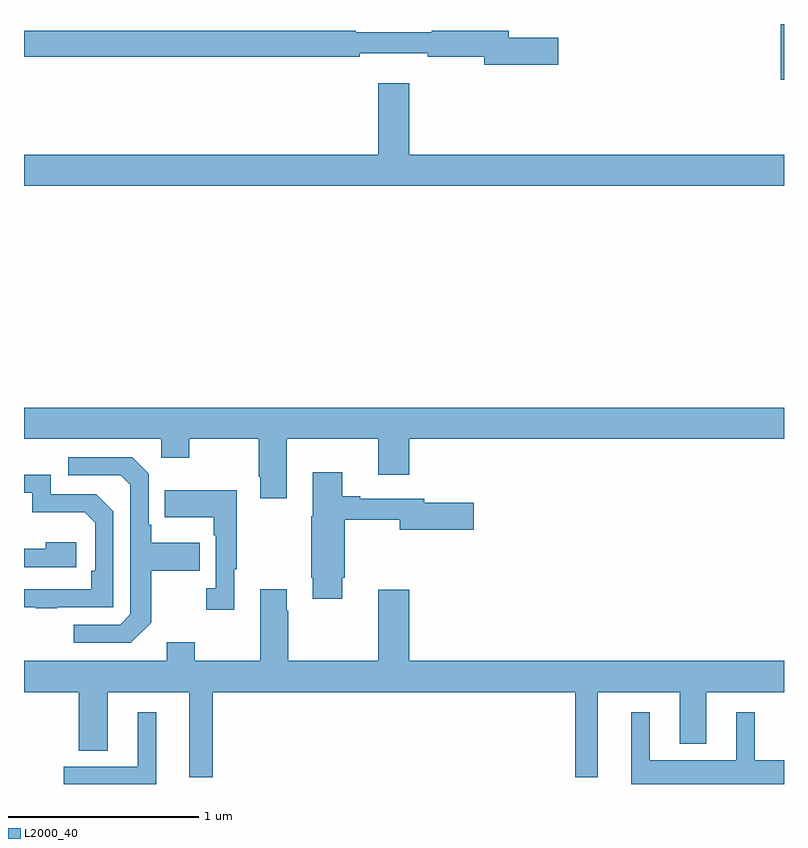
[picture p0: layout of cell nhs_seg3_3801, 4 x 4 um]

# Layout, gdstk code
import gdstk
lib = gdstk.Library(unit=1e-6, precision=1e-09)
def R(c, l, rs):  # rectangles x0, y0, x1, y1
    for r in rs: c.add(gdstk.rectangle(r[:2], r[2:], *l))
def P(c, l, *ps):  # polygons
    for p in ps: c.add(gdstk.Polygon(p, *l))
L2000_40 = (2000, 40)

nhs_seg3_3801 = lib.new_cell('nhs_seg3_3801')
R(nhs_seg3_3801, L2000_40, [(310.982,736.106,311,736.4)])
P(nhs_seg3_3801, L2000_40, [(309.811,736.328),(309.55,736.328),(309.55,736.364),(309.146,736.364),(309.146,736.357),(308.746,736.357),(308.746,736.364),(307,736.364),(307,736.228),(308.768,736.228),(308.768,736.247),(309.124,736.247),(309.124,736.228),(309.422,736.228),(309.422,736.186),(309.811,736.186)],
  [(311,735.712),(309.028,735.712),(309.028,736.087),(308.864,736.087),(308.864,735.712),(307,735.712),(307,735.548),(311,735.548)],
  [(308.383,734.216),(308.864,734.216),(308.864,734.028),(309.028,734.028),(309.028,734.216),(311,734.216),(311,734.38),(307,734.38),(307,734.216),(307.722,734.216),(307.722,734.117),(307.869,734.117),(307.869,734.216),(308.236,734.216),(308.236,734.017),(308.243,734.017),(308.243,733.905),(308.383,733.905)],
  [(307.669,733.249),(307.669,733.522),(307.925,733.522),(307.925,733.669),(307.669,733.669),(307.669,733.765),(307.656,733.765),(307.656,734.034),(307.569,734.121),(307.233,734.121),(307.233,734.025),(307.509,734.025),(307.56,733.974),(307.56,733.293),(307.506,733.239),(307.263,733.239),(307.263,733.143),(307.563,733.143)],
  [(308.674,733.486),(308.687,733.486),(308.687,733.79),(308.978,733.79),(308.978,733.739),(309.367,733.739),(309.367,733.881),(309.106,733.881),(309.106,733.902),(308.77,733.902),(308.77,733.915),(308.674,733.915),(308.674,734.041),(308.519,734.041),(308.519,733.809),(308.512,733.809),(308.512,733.486),(308.519,733.486),(308.519,733.374),(308.674,733.374)],
  [(307.175,733.329),(307.47,733.329),(307.47,733.836),(307.38,733.926),(307.14,733.926),(307.14,734.028),(307,734.028),(307,733.932),(307.044,733.932),(307.044,733.829),(307.321,733.829),(307.374,733.776),(307.374,733.522),(307.354,733.522),(307.354,733.425),(307,733.425),(307,733.329),(307.063,733.329),(307.063,733.324),(307.175,733.324)],
  [(308.107,733.529),(308.119,733.529),(308.119,733.945),(307.741,733.945),(307.741,733.805),(307.998,733.805),(307.998,733.709),(308.01,733.709),(308.01,733.43),(307.959,733.43),(307.959,733.317),(308.107,733.317)],
  [(307.276,733.672),(307.115,733.672),(307.115,733.638),(307,733.638),(307,733.542),(307.276,733.542)],
  [(307.993,732.884),(309.9,732.884),(309.9,732.435),(310.021,732.435),(310.021,732.884),(310.451,732.884),(310.451,732.611),(310.591,732.611),(310.591,732.884),(311,732.884),(311,733.048),(309.028,733.048),(309.028,733.423),(308.864,733.423),(308.864,733.048),(308.391,733.048),(308.391,733.313),(308.383,733.313),(308.383,733.426),(308.243,733.426),(308.243,733.048),(307.899,733.048),(307.899,733.147),(307.751,733.147),(307.751,733.048),(307,733.048),(307,732.884),(307.289,732.884),(307.289,732.575),(307.441,732.575),(307.441,732.884),(307.871,732.884),(307.871,732.435),(307.993,732.435)],
  [(307.696,732.778),(307.598,732.778),(307.598,732.49),(307.208,732.49),(307.208,732.4),(307.696,732.4)],
  [(311,732.526),(310.846,732.526),(310.846,732.778),(310.748,732.778),(310.748,732.526),(310.294,732.526),(310.294,732.778),(310.196,732.778),(310.196,732.4),(311,732.4)])

lib.write_gds('nhs_seg3_3801.gds')
